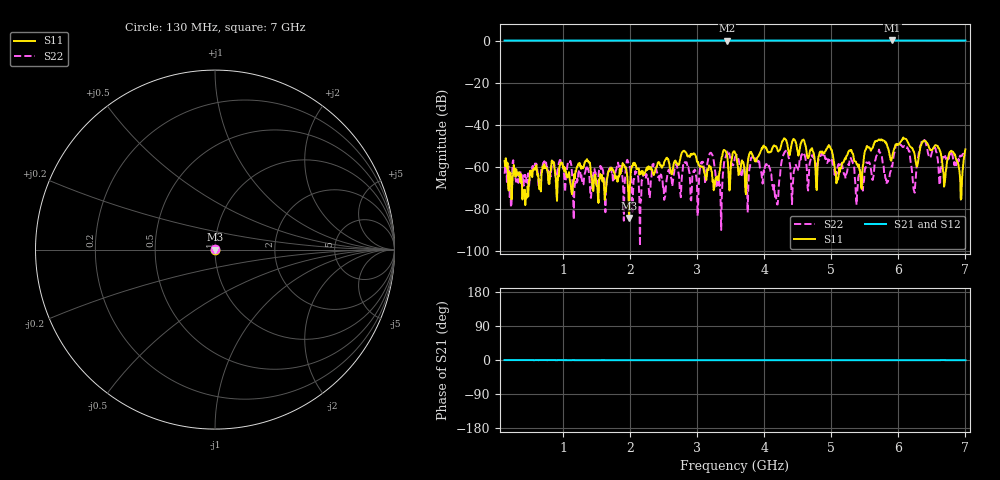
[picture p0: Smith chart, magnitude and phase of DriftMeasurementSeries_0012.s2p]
# Hz S RI R 50.000000
! Metas.Vna.Tools, 2.8.8664.20301
! Metas.Vna.Data, 2.8.8664.20285
! Created: UTC 2024.02.11 10:08:09
! FREQ  re:S1,1  im:S1,1  re:S2,1  im:S2,1  re:S1,2  im:S1,2  re:S2,2  im:S2,2
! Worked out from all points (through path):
!   801 points, 130 MHz to 7 GHz, reference 50 ohm
!   highest |S21| = 0.05 dB at 5.909 GHz (marker M1); lowest = -0.1 dB at 3.445 GHz (marker M2)
!   lowest |S11| = -84.2 dB at 1.985 GHz (marker M3), VSWR 1.00, Z = 50 + j0.00358 ohm
!   |S11| at or under -10 dB: start of sweep to end of sweep
!   |S22| runs from -97.5 to -47.1 dB; largest |S21 - S12| = 0.0081
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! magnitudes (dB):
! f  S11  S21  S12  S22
! 130 MHz  -57.2  0.0  0.0  -63.2
! 430.6 MHz  -70.7  0.0  0.0  -64.7
! 1.281 GHz  -59.8  0.0  0.0  -65.8
! 1.985 GHz  -84.2  0.0  0.0  -58.3
! 2.423 GHz  -57.9  0.0  0.0  -64.6
! 3.204 GHz  -59.9  0.0  0.0  -53.2
! 3.333 GHz  -62.4  0.0  0.0  -69.0
! 3.445 GHz  -54.1  -0.1  0.0  -53.7
! 3.565 GHz  -53.3  0.0  0.0  -55.3
! 4.054 GHz  -53.0  0.0  0.0  -58.6
! 4.175 GHz  -50.1  0.0  0.0  -73.3
! 4.312 GHz  -46.7  0.0  0.0  -52.8
! 4.424 GHz  -47.6  0.0  0.0  -70.1
! 4.716 GHz  -51.1  0.0  0.0  -55.0
! 5.094 GHz  -65.4  0.0  0.0  -60.3
! 5.858 GHz  -52.3  0.0  0.0  -65.6
! 5.909 GHz  -55.3  0.0  0.0  -59.8
! 6.115 GHz  -46.7  0.0  0.0  -50.3
! 6.236 GHz  -53.0  0.0  0.0  -71.3
! 6.399 GHz  -47.6  0.0  0.0  -47.9
! 6.931 GHz  -75.5  0.0  0.0  -54.9
! 7 GHz  -51.6  0.0  0.0  -54.7
